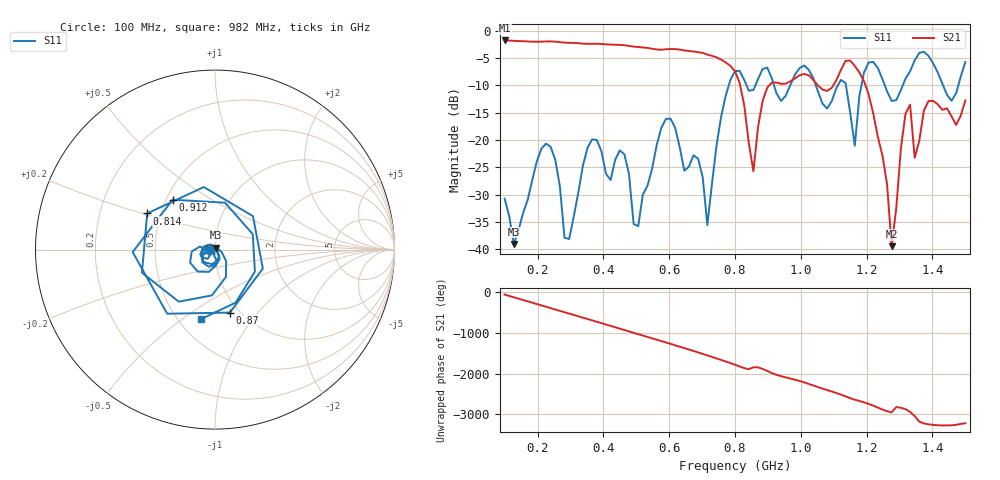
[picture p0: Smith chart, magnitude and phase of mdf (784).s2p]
! NanoVNA-App
! Date: 2025-09-25 15:44:31
! Start: 100MHz Stop: 1,5GHz Points: 101
! S-Parameter data: F S11 S21 S12 S22
# Hz S RI R 50
!  Frequency  S11_Real  S11_Imag  S21_Real  S21_Imag  S12_Real  S12_Imag  S22_Real  S22_Imag
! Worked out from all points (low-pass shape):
!   101 points, 100 MHz to 1.5 GHz, reference 50 ohm
!   highest |S21| = -1.80 dB at 100 MHz (marker M1); lowest = -39.4 dB at 1.276 GHz (marker M2)
!   |S21| within 3 dB of the highest: start of sweep to 739.3 MHz
!   lowest |S11| = -39.1 dB at 128 MHz (marker M3), VSWR 1.02, Z = 50.3 + j1.07 ohm
!   |S11| at or under -10 dB: start of sweep to 781.2 MHz; 1.046 GHz to 1.113 GHz (67.14 MHz wide, 6.22 % of centre); 1.255 GHz to 1.31 GHz (54.87 MHz wide, 4.28 % of centre) (the widest 3 of 7)
!   S12 and S22 are empty: the file has one direction only
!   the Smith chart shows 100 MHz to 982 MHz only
!   S11 on the Smith chart (normalised r, x): 100 MHz: 0.94, -0.01; 814 MHz: 0.42, +0.21; 870 MHz: 0.90, -0.73; 912 MHz: 0.54, +0.35; 982 MHz: 0.64, -0.59
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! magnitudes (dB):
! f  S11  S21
! 100 MHz  -30.7  -1.8
! 128 MHz  -39.1  -1.9
! 212 MHz  -21.6  -2.0
! 282 MHz  -37.9  -2.2
! 338 MHz  -24.7  -2.4
! 464 MHz  -22.6  -2.7
! 506 MHz  -35.8  -3.0
! 576 MHz  -17.8  -3.5
! 716 MHz  -35.6  -4.4
! 800 MHz  -7.4  -7.4
! 814 MHz  -7.4  -9.6
! 856 MHz  -10.9  -25.7
! 870 MHz  -8.9  -17.6
! 912 MHz  -8.8  -9.5
! 982 MHz  -8.1  -8.8
! 1.038 GHz  -8.7  -9.0
! 1.136 GHz  -9.6  -5.5
! 1.164 GHz  -21.0  -6.5
! 1.192 GHz  -7.6  -9.3
! 1.276 GHz  -12.9  -39.4
! 1.318 GHz  -8.8  -15.2
! 1.5 GHz  -5.7  -12.8
